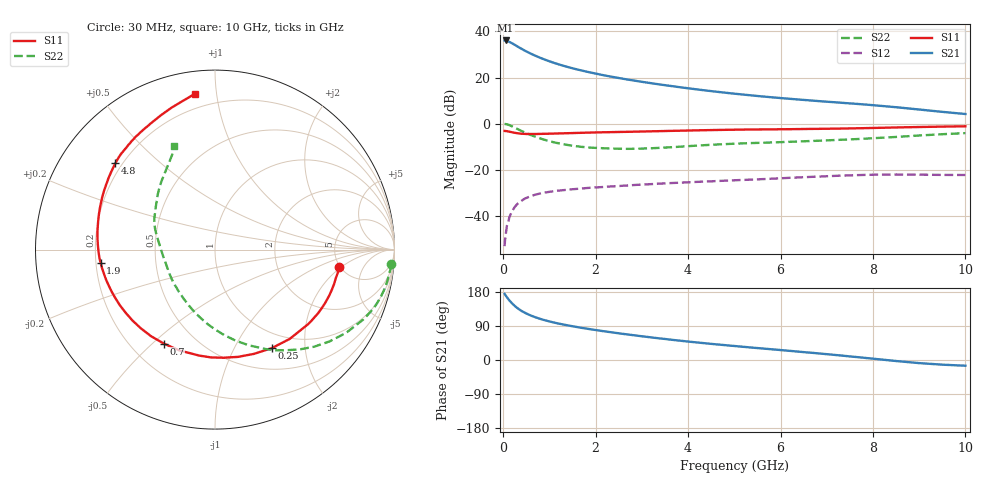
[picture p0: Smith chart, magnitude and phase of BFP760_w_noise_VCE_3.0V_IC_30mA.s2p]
! Infineon Technologies  Discrete & RF Semiconductors
! BFP760
! VCE =  3.0 V,  IC =  30 mA
! Common Emitter S-Parameters:  Nov 2012
# GHz  S  MA  R  50
!  f  S11  S21  S12  S22
! GHz  MAG  ANG  MAG  ANG  MAG  ANG  MAG  ANG
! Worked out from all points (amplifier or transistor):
!   99 points, 30 MHz to 10 GHz, reference 50 ohm
!   highest |S21| = 36.1 dB at 50 MHz (marker M1)
!   |S21| within 3 dB of that: start of sweep to 341.3 MHz
!   unconditionally stable (mu >= 1): 4.233 GHz to end of sweep
!   at 350 MHz: K = 0.27, MSG = 33.5 dB, |S12| = -34.1 dB
!   at 3.5 GHz: K = 0.93, MSG = 21.3 dB, |S12| = -25.9 dB
!   at 10 GHz: K = 1.07, MAG = 11.6 dB, |S12| = -22.3 dB
!   lowest NFmin = 0.75 dB at 900 MHz
!   S11 on the Smith chart (normalised r, x): 30 MHz: 4.84, -1.84; 250 MHz: 0.78, -1.42; 700 MHz: 0.33, -0.54; 1.9 GHz: 0.22, -0.06; 4.8 GHz: 0.17, +0.36; 10 GHz: 0.12, +0.87
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0.03  0.6953 -8.1  63.76 174.6  0.0022 91.9  0.9816 -4.8
0.05  0.6915 -13.4  63.8 170.7  0.0034 83.4  0.9789 -8.4
0.1  0.6811 -26.5  61.35 162.4  0.0069 76.6  0.9553 -17.2
0.15  0.664 -38.9  58.23 154.9  0.0103 72.1  0.9129 -25.3
0.2  0.6487 -50.1  54.68 148.4  0.013 68.9  0.8656 -32.4
0.25  0.6335 -60.2  51.23 142.6  0.0156 63.9  0.8172 -38.8
0.35  0.6114 -77.8  44.62 133.2  0.0198 58.4  0.7292 -49.7
0.45  0.6012 -92.0  39.23 125.8  0.0231 52.9  0.6552 -58.9
0.6  0.5958 -109.4  32.91 117.2  0.0268 47.3  0.5652 -70.6
0.7  0.5963 -118.6  29.61 112.6  0.029 44.6  0.5182 -77.5
0.9  0.6026 -133.4  24.52 105.0  0.032 40.2  0.4448 -90.0
1.1  0.6095 -144.8  20.82 98.8  0.0343 37.2  0.3933 -100.9
1.4  0.6214 -157.7  16.9 91.3  0.037 34.7  0.344 -115.0
1.7  0.6332 -167.7  14.19 84.8  0.0392 33.1  0.3133 -127.5
1.9  0.6412 -173.3  12.8 81.0  0.0408 32.4  0.3016 -135.2
2.6  0.6628 170.9  9.389 68.8  0.0451 30.8  0.2846 -157.9
3.4  0.6886 156.8  7.059 56.8  0.0502 29.5  0.2992 -178.9
4.8  0.7342 139.1  4.698 39.2  0.0579 27.3  0.3596 159.0
5.1  0.7417 136.6  4.368 35.9  0.0597 26.7  0.3707 155.8
6.7  0.7696 124.6  3.157 18.8  0.0704 22.9  0.4219 140.4
8.5  0.8271 107.0  2.274 -2.7  0.0789 12.5  0.5149 122.5
10  0.8767 97.3  1.62 -15.1  0.077 8.0  0.6232 111.7
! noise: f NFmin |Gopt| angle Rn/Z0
0.9  0.75  0.17  -168  0.1
1.8  0.8  0.19  -157  0.06
2.4  0.85  0.19  -148  0.08
3.5  0.96  0.2  -140  0.1
5.5  1.18  0.27  -99  0.3
8  1.48  0.39  -73  0.42
